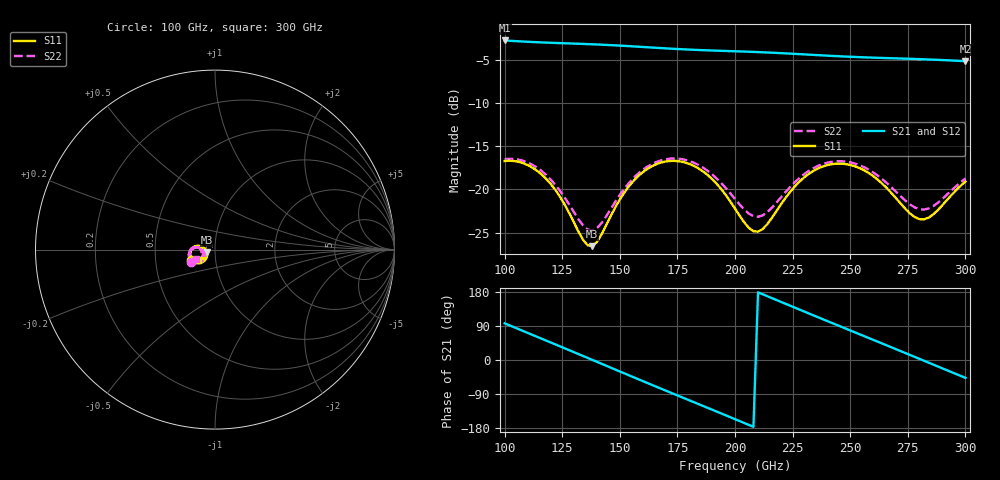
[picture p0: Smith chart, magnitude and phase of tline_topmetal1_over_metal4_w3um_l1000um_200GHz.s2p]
#  GHZ S DB R 50
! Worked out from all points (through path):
!   101 points, 100 GHz to 300 GHz, reference 50 ohm
!   highest |S21| = -2.79 dB at 100 GHz (marker M1); lowest = -5.2 dB at 300 GHz (marker M2)
!   group delay of S21, straight-line fit = 7 ps
!   lowest |S11| = -26.6 dB at 138 GHz (marker M3), VSWR 1.10, Z = 45.7 - j1.46 ohm
!   |S11| at or under -10 dB: start of sweep to end of sweep
!   |S22| runs from -24.8 to -16.4 dB; largest |S21 - S12| = 8e-14
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100  -16.72 -155.6  -2.79 96.8  -2.79 96.8  -16.52 -153.4
108  -16.97 -170.8  -2.91 76.5  -2.91 76.5  -16.70 -167.8
116  -18.27 175.7  -3.01 56.4  -3.01 56.4  -17.87 179.8
126  -21.73 166.3  -3.11 31.0  -3.11 31.0  -20.92 171.9
134  -25.82 179.9  -3.19 10.7  -3.19 10.7  -24.16 -176.4
138  -26.57 -160.2  -3.23 0.4  -3.23 0.4  -24.77 -161.5
152  -20.35 -134.4  -3.41 -35.4  -3.41 -35.4  -19.92 -137.7
160  -18.01 -143.5  -3.54 -55.8  -3.54 -55.8  -17.73 -145.0
168  -16.90 -156.1  -3.67 -75.9  -3.67 -75.9  -16.64 -156.2
176  -16.76 -169.3  -3.79 -96.0  -3.79 -96.0  -16.47 -168.2
184  -17.55 178.5  -3.89 -116.0  -3.89 -116.0  -17.16 -179.2
200  -22.22 168.7  -4.04 -156.2  -4.04 -156.2  -21.12 172.8
210  -24.89 -164.6  -4.13 178.5  -4.13 178.5  -23.17 -166.8
222  -20.96 -142.1  -4.28 148.1  -4.28 148.1  -20.29 -147.5
234  -17.87 -151.5  -4.46 117.9  -4.46 117.9  -17.55 -154.5
242  -17.09 -162.3  -4.57 97.9  -4.57 97.9  -16.81 -164.0
250  -17.18 -173.5  -4.67 78.0  -4.67 78.0  -16.88 -174.1
258  -18.11 176.8  -4.76 58.1  -4.76 58.1  -17.71 177.2
268  -20.46 171.1  -4.84 33.2  -4.84 33.2  -19.79 172.3
282  -23.47 -166.6  -4.97 -1.9  -4.97 -1.9  -22.34 -169.2
290  -21.84 -150.8  -5.05 -22.1  -5.05 -22.1  -21.10 -155.7
300  -19.10 -150.1  -5.18 -47.2  -5.18 -47.2  -18.75 -154.1
